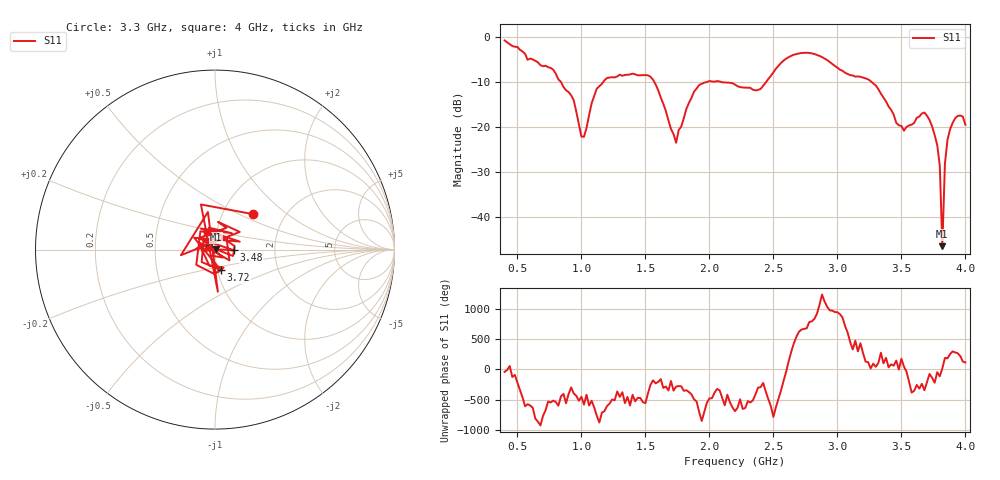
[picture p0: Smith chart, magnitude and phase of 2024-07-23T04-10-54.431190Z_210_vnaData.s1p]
!Created with skrf (http://scikit-rf.org).
# Hz S RI R 50.0
!freq ReS11 ImS11
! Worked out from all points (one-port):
!   181 points, 400 MHz to 4 GHz, reference 50 ohm
!   lowest |S11| = -46.4 dB at 3.82 GHz (marker M1), VSWR 1.01, Z = 50.5 + j0.145 ohm
!   |S11| at or under -10 dB: 1.57 GHz to 1.98 GHz (410.7 MHz wide, 23.1 % of centre); 2.094 GHz to 2.443 GHz (349.5 MHz wide, 15.4 % of centre); 3.268 GHz to end of sweep (the widest 3 of 4)
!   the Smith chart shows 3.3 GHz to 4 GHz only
!   S11 on the Smith chart (normalised r, x): 3.3 GHz: 1.39, +0.60; 3.48 GHz: 1.23, -0.01; 3.72 GHz: 1.04, -0.24; 4 GHz: 0.90, +0.17
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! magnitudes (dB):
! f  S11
! 400 MHz  -0.8
! 780 MHz  -7.3
! 860 MHz  -11.1
! 940 MHz  -14.0
! 1 GHz  -22.1
! 1.02 GHz  -22.1
! 1.12 GHz  -11.5
! 1.3 GHz  -8.4
! 1.54 GHz  -8.8
! 1.74 GHz  -23.5
! 1.76 GHz  -20.7
! 1.92 GHz  -10.7
! 2.2 GHz  -10.6
! 2.4 GHz  -11.5
! 2.66 GHz  -3.9
! 3.1 GHz  -8.5
! 3.3 GHz  -10.8
! 3.48 GHz  -19.6
! 3.56 GHz  -19.6
! 3.68 GHz  -16.8
! 3.72 GHz  -18.4
! 3.78 GHz  -24.0
! 3.8 GHz  -28.6
! 3.82 GHz  -46.4
! 3.84 GHz  -28.2
! 3.86 GHz  -22.9
! 3.94 GHz  -17.5
! 4 GHz  -19.5
